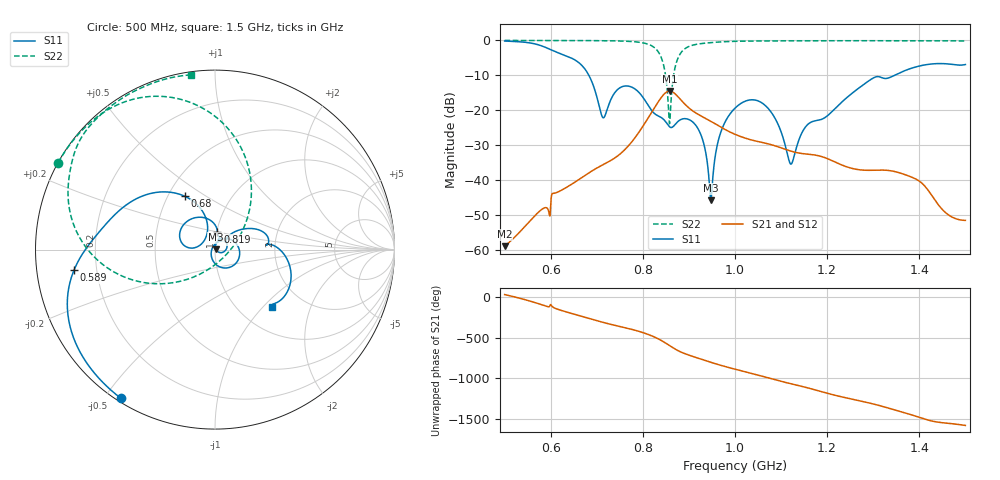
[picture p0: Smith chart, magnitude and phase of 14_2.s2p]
! TOUCHSTONE file generated by CST MICROWAVE STUDIO
! Date and time: Wed Oct 28 19:36:09 2020
! Project name: Scenario_1_Circular_Tissue_out_of_Line_v2.cst
! Parameters = {dy1=-121.1; L_HA=400; MT=2.54; Rad_Dielectric=30; Rad_Lower=7.3; Rad_Upper=30; a_HA=580; a_WG=246; b_HA=500; b_WG=121; c_HA=0; c_WG=187; d_feed=85; dx1=346; h_feed=15; h_lower=18; h_upper=40}
! Header version: 2018
! Port assignment regex: !\s*Touchstone port\s*([0-9]+)\s*=\s*(CST MWS port|CST DS port)\s*([0-9]+|Zmin|Zmax)\s*\(\"(.*)\"\)(\s*mode\s*([0-9]+))?.*
! Touchstone port assignment:
! Touchstone port 1 = CST MWS port 1 ("")
! Touchstone port 2 = CST MWS port 2 ("")
# GHz S DB R 50
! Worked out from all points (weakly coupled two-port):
!   1003 points, 500 MHz to 1.5 GHz, reference 50 ohm
!   highest |S21| = -14.49 dB at 858 MHz (marker M1); lowest = -58.9 dB at 500 MHz (marker M2)
!   lowest |S11| = -45.8 dB at 948 MHz (marker M3), VSWR 1.01, Z = 50.4 + j0.273 ohm
!   |S11| at or under -10 dB: 682.9 MHz to 1.346 GHz (663 MHz wide, 65.4 % of centre)
!   |S22| runs from -23.8 to 0.0 dB; largest |S21 - S12| = 0.00095
!   S11 on the Smith chart (normalised r, x): 500 MHz: 0.01, -0.55; 589 MHz: 0.12, -0.07; 680 MHz: 0.61, +0.41; 819 MHz: 1.01, +0.20; 1.5 GHz: 1.40, -1.13
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0.5  -0.17 -122.2  -58.89 26.6  -58.89 26.6  -0.01 151.1
0.589  -2.00 -171.7  -47.85 -114.1  -47.77 -114.6  -0.02 144.9
0.667  -7.07 133.6  -39.30 120.5  -39.30 120.5  -0.04 138.3
0.68  -9.32 119.6  -38.16 99.6  -38.16 99.6  -0.05 137.0
0.714  -22.15 143.0  -35.54 45.2  -35.54 45.2  -0.08 133.0
0.761  -13.05 146.3  -31.25 -19.5  -31.25 -19.5  -0.21 125.1
0.819  -20.04 82.4  -20.60 -118.8  -20.60 -118.8  -1.52 100.5
0.834  -21.65 79.3  -17.46 -157.8  -17.46 -157.8  -3.36 83.9
0.846  -22.73 70.6  -15.38 164.0  -15.38 164.0  -7.62 61.0
0.858  -24.73 68.0  -14.49 120.4  -14.49 120.4  -23.84 -49.1
0.877  -23.12 65.3  -16.22 57.4  -16.22 57.4  -4.83 -167.2
0.916  -24.49 -2.6  -20.85 -25.9  -20.85 -25.9  -1.12 158.7
0.933  -29.97 -31.1  -22.09 -57.1  -22.09 -57.1  -0.81 152.9
0.948  -45.76 31.8  -23.16 -84.3  -23.16 -84.3  -0.62 149.2
0.967  -27.15 73.4  -24.63 -117.0  -24.63 -117.0  -0.44 145.5
1  -19.39 29.7  -26.87 -167.8  -26.87 -167.8  -0.26 140.3
1.068  -18.91 -64.4  -29.48 92.4  -29.48 92.4  -0.15 132.5
1.121  -35.40 161.5  -31.68 14.0  -31.68 14.0  -0.11 127.8
1.167  -23.28 41.8  -32.69 -50.4  -32.69 -50.4  -0.10 124.1
1.334  -10.70 5.7  -37.23 74.0  -37.23 74.0  -0.08 111.4
1.398  -7.39 -12.6  -40.10 -33.5  -40.10 -33.5  -0.09 106.4
1.5  -6.90 -45.2  -51.51 -137.2  -51.48 -137.2  -0.14 97.8
